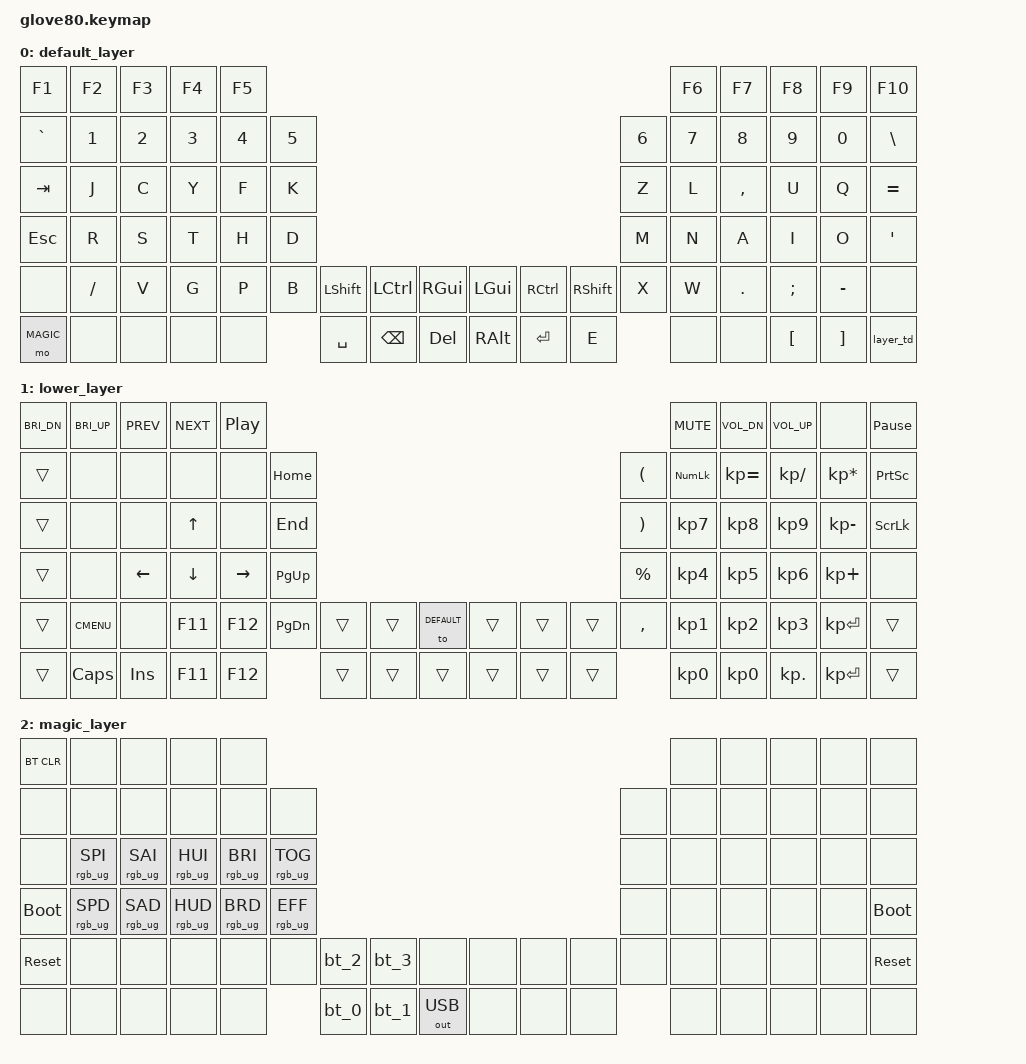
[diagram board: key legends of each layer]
// RSTHD keyboard layout
// https://xsznix.wordpress.com/2016/05/16/introducing-the-rsthd-layout/

#include <behaviors.dtsi>
#include <dt-bindings/zmk/keys.h>
#include <dt-bindings/zmk/bt.h>
#include <dt-bindings/zmk/ext_power.h>
#include <dt-bindings/zmk/outputs.h>
#include <dt-bindings/zmk/rgb.h>

// layers
#define DEFAULT 0
#define LOWER 1
#define MAGIC 2

/ {
    behaviors {
        // For the "layer" key, it'd nice to be able to use it as either a shift or a toggle.
        // Configure it as a tap dance, so the first tap (or hold) is a &mo and the second tap is a &to
        layer_td: tap_dance_0 {
            compatible = "zmk,behavior-tap-dance";
            #binding-cells = <0>;
            tapping-term-ms = <200>;
            bindings = <&mo LOWER>, <&to LOWER>;
        };
    };

    macros {
        bt_0: bt_profile_macro_0 {
            compatible = "zmk,behavior-macro";
            #binding-cells = <0>;
            bindings
                = <&out OUT_BLE>,
                  <&bt BT_SEL 0>;
        };

        bt_1: bt_profile_macro_1 {
            compatible = "zmk,behavior-macro";
            #binding-cells = <0>;
            bindings
                = <&out OUT_BLE>,
                  <&bt BT_SEL 1>;
        };

        bt_2: bt_profile_macro_2 {
            compatible = "zmk,behavior-macro";
            #binding-cells = <0>;
            bindings
                = <&out OUT_BLE>,
                  <&bt BT_SEL 2>;
        };

        bt_3: bt_profile_macro_3 {
            compatible = "zmk,behavior-macro";
            #binding-cells = <0>;
            bindings
                = <&out OUT_BLE>,
                  <&bt BT_SEL 3>;
        };
    };

    keymap {
        compatible = "zmk,keymap";

        default_layer {
            bindings = <
            &kp F1     &kp F2    &kp F3  &kp F4  &kp F5                                                                                    &kp F6  &kp F7     &kp F8    &kp F9     &kp F10
            &kp GRAVE  &kp N1    &kp N2  &kp N3  &kp N4  &kp N5                                                                    &kp N6  &kp N7  &kp N8     &kp N9    &kp N0     &kp BSLH
            &kp TAB    &kp J     &kp C   &kp Y   &kp F   &kp K                                                                     &kp Z   &kp L   &kp COMMA  &kp U     &kp Q      &kp EQUAL
            &kp ESC    &kp R     &kp S   &kp T   &kp H   &kp D                                                                     &kp M   &kp N   &kp A      &kp I     &kp O      &kp SQT
            &none      &kp FSLH  &kp V   &kp G   &kp P   &kp B   &kp LSHFT  &kp LCTRL  &kp RGUI    &kp LGUI  &kp RCTRL &kp RSHFT   &kp X   &kp W   &kp DOT    &kp SEMI  &kp MINUS  &none
            &mo MAGIC  &none     &none   &none   &none           &kp SPACE  &kp BSPC   &kp DEL     &kp RALT  &kp RET   &kp E               &none   &none      &kp LBKT  &kp RBKT   &layer_td
            >;
        };

        lower_layer {
            bindings = <
            &kp C_BRI_DN      &kp C_BRI_UP        &kp C_PREV      &kp C_NEXT      &kp C_PP                                                                                                           &kp C_MUTE   &kp C_VOL_DN &kp C_VOL_UP  &none           &kp PAUSE_BREAK
            &trans            &none               &none           &none           &none           &kp HOME                                                                              &kp LPAR     &kp KP_NUM   &kp KP_EQUAL &kp KP_DIVIDE &kp KP_MULTIPLY &kp PSCRN
            &trans            &none               &none           &kp UP          &none           &kp END                                                                               &kp RPAR     &kp KP_N7    &kp KP_N8    &kp KP_N9     &kp KP_MINUS    &kp SLCK
            &trans            &none               &kp LEFT        &kp DOWN        &kp RIGHT       &kp PG_UP                                                                             &kp PRCNT    &kp KP_N4    &kp KP_N5    &kp KP_N6     &kp KP_PLUS     &none
            &trans            &kp K_CMENU         &none           &kp F11         &kp F12         &kp PG_DN       &trans      &trans      &to DEFAULT &trans      &trans      &trans    &kp COMMA    &kp KP_N1    &kp KP_N2    &kp KP_N3     &kp KP_ENTER    &trans
            &trans            &kp CAPS            &kp INS         &kp F11         &kp F12                         &trans      &trans      &trans      &trans      &trans      &trans                 &kp KP_N0    &kp KP_N0    &kp KP_DOT    &kp KP_ENTER    &trans
            >;
        };

        magic_layer {
            bindings = <
            &bt BT_CLR        &none               &none           &none           &none                                                                                                           &none      &none      &none      &none      &none
            &none             &none               &none           &none           &none           &none                                                                                &none      &none      &none      &none      &none      &none
            &none             &rgb_ug RGB_SPI     &rgb_ug RGB_SAI &rgb_ug RGB_HUI &rgb_ug RGB_BRI &rgb_ug RGB_TOG                                                                      &none      &none      &none      &none      &none      &none
            &bootloader       &rgb_ug RGB_SPD     &rgb_ug RGB_SAD &rgb_ug RGB_HUD &rgb_ug RGB_BRD &rgb_ug RGB_EFF                                                                      &none      &none      &none      &none      &none      &bootloader
            &sys_reset        &none               &none           &none           &none           &none           &bt_2     &bt_3     &none            &none     &none     &none       &none      &none      &none      &none      &none      &sys_reset
            &none             &none               &none           &none           &none                           &bt_0     &bt_1     &out OUT_USB     &none     &none     &none                  &none      &none      &none      &none      &none
            >;
        };
    };
};
